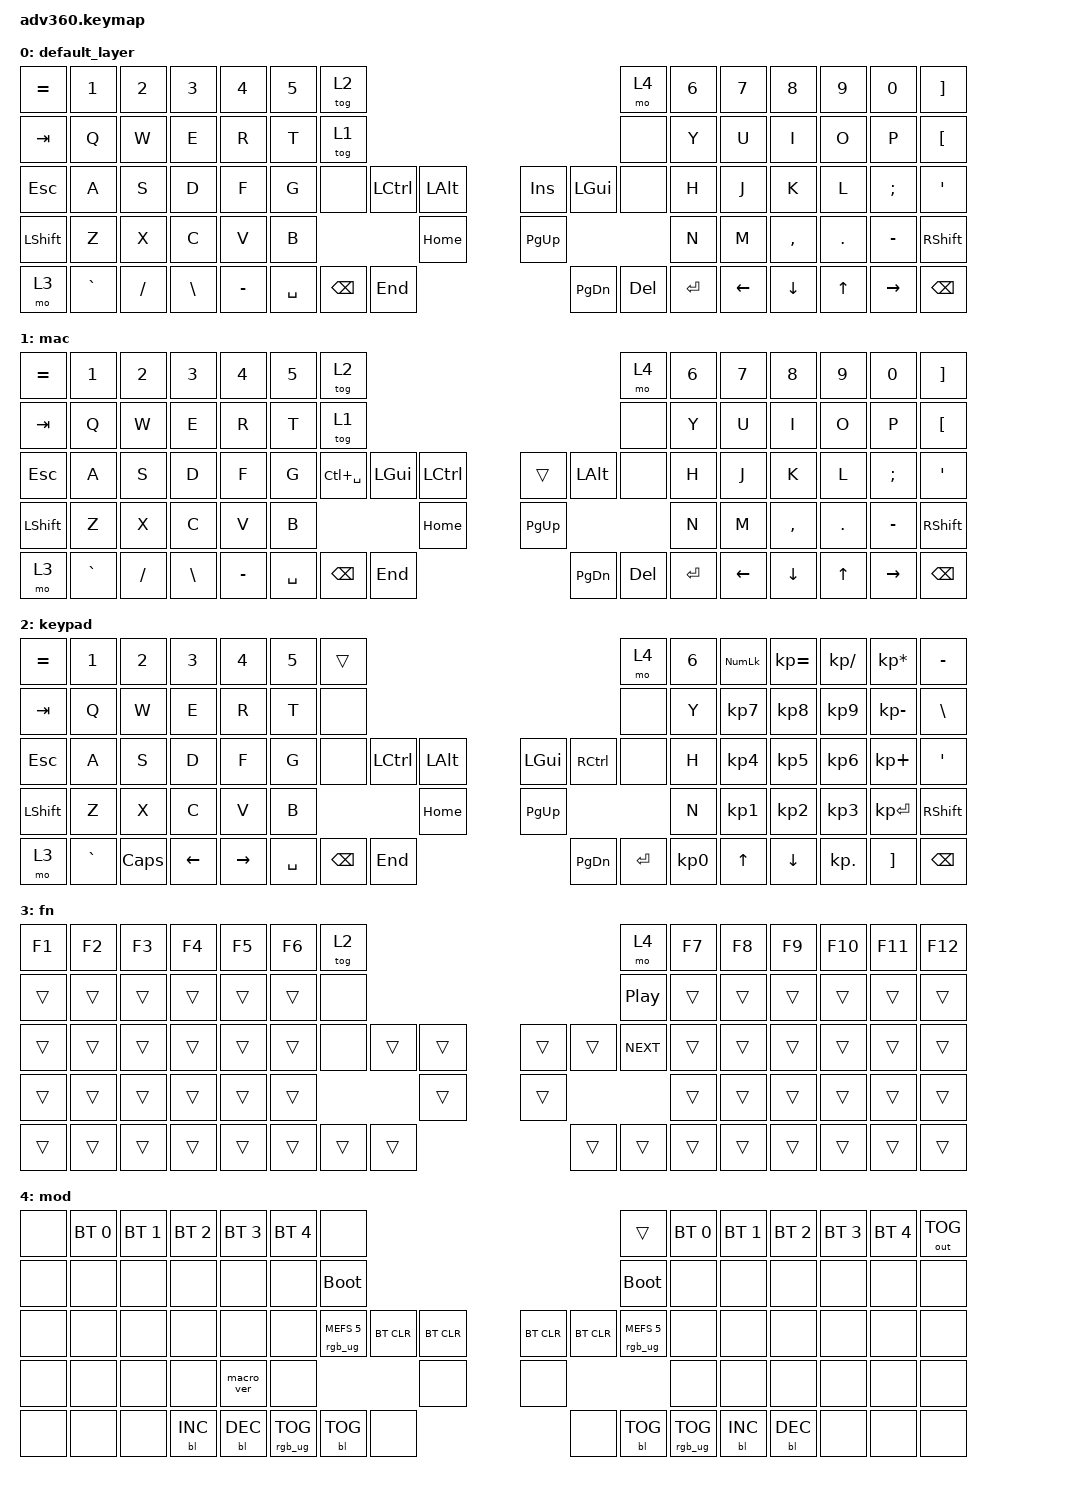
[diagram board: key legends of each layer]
#include <behaviors.dtsi>
#include <dt-bindings/zmk/keys.h>
#include <dt-bindings/zmk/bt.h>
#include <dt-bindings/zmk/rgb.h>
#include <dt-bindings/zmk/backlight.h>
#include <dt-bindings/zmk/outputs.h>

/ {
    behaviors {
      #include "macros.dtsi"
      #include "version.dtsi"
      #ifndef VERSION_MACRO
      macro_ver: macro_ver {
        compatible = "zmk,behavior-macro";
        label = "macro_version";
        #binding-cells = <0>;
        bindings = <&kp RET>;
      };
      #endif

      hm: homerow_mods {
          compatible = "zmk,behavior-hold-tap";
          label = "HOMEROW_MODS";
          #binding-cells = <2>;
          tapping-term-ms = <200>;
          quick_tap_ms = <175>;
          flavor = "tap-preferred";
          bindings = <&kp>, <&kp>;
      };
    };

  keymap {
    compatible = "zmk,keymap";

    default_layer {
      bindings = <
        &kp EQUAL &kp N1    &kp N2    &kp N3    &kp N4     &kp N5 &tog 2                                                                        &mo 4 &kp N6 &kp N7   &kp N8    &kp N9   &kp N0    &kp RBKT
        &kp TAB   &kp Q     &kp W     &kp E     &kp R      &kp T  &tog 1                                                                        &none &kp Y  &kp U    &kp I     &kp O    &kp P     &kp LBKT
        &kp ESC   &kp A     &kp S     &kp D     &kp F      &kp G  &none            &kp LCTRL &kp LALT             &kp INS   &kp LGUI            &none &kp H  &kp J    &kp K     &kp L    &kp SEMI  &kp SQT
        &kp LSHFT &kp Z     &kp X     &kp C     &kp V      &kp B                             &kp HOME             &kp PG_UP                           &kp N  &kp M    &kp COMMA &kp DOT  &kp MINUS &kp RSHFT
        &mo 3     &kp GRAVE &kp SLASH &kp BSLH  &kp MINUS                &kp SPACE &kp BSPC  &kp END              &kp PG_DN &kp DEL   &kp ENTER              &kp LEFT &kp DOWN  &kp UP   &kp RIGHT &kp BSPC
      >;
    };
    mac {
      bindings = <
        &kp EQUAL &kp N1    &kp N2    &kp N3    &kp N4     &kp N5 &tog 2                                                                        &mo 4 &kp N6 &kp N7   &kp N8    &kp N9   &kp N0    &kp RBKT
        &kp TAB   &kp Q     &kp W     &kp E     &kp R      &kp T  &tog 1                                                                        &none &kp Y  &kp U    &kp I     &kp O    &kp P     &kp LBKT
        &kp ESC   &kp A     &kp S     &kp D     &kp F      &kp G  &kp LC(SPACE)    &kp LGUI &kp LCTRL             &trans &kp LALT               &none &kp H  &kp J    &kp K     &kp L    &kp SEMI  &kp SQT
        &kp LSHFT &kp Z     &kp X     &kp C     &kp V      &kp B                             &kp HOME             &kp PG_UP                           &kp N  &kp M    &kp COMMA &kp DOT  &kp MINUS &kp RSHFT
        &mo 3     &kp GRAVE &kp SLASH &kp BSLH  &kp MINUS                &kp SPACE &kp BSPC  &kp END              &kp PG_DN &kp DEL   &kp ENTER              &kp LEFT &kp DOWN  &kp UP   &kp RIGHT &kp BSPC
      >;    
    };
    keypad {
      bindings = <
        &kp EQUAL &kp N1    &kp N2   &kp N3   &kp N4     &kp N5 &trans                                                                         &mo 4 &kp N6 &kp KP_NUM &kp KP_EQUAL &kp KP_DIVIDE &kp KP_MULTIPLY &kp MINUS
        &kp TAB   &kp Q     &kp W    &kp E    &kp R      &kp T  &none                                                                          &none &kp Y  &kp KP_N7  &kp KP_N8    &kp KP_N9     &kp KP_MINUS    &kp BSLH
        &kp ESC   &kp A     &kp S    &kp D    &kp F      &kp G  &none            &kp LCTRL  &kp LALT             &kp LGUI  &kp RCTRL           &none &kp H  &kp KP_N4  &kp KP_N5    &kp KP_N6     &kp KP_PLUS     &kp SQT
        &kp LSHFT &kp Z     &kp X    &kp C    &kp V      &kp B                              &kp HOME             &kp PG_UP                           &kp N  &kp KP_N1  &kp KP_N2    &kp KP_N3     &kp KP_ENTER    &kp RSHFT
        &mo 3     &kp GRAVE &kp CAPS &kp LEFT &kp RIGHT                &kp SPACE &kp BSPC   &kp END              &kp PG_DN &kp ENTER &kp KP_N0              &kp UP     &kp DOWN     &kp KP_DOT    &kp RBKT        &kp BSPC
      >;
    };
    fn {
      bindings = <
        &kp F1 &kp F2 &kp F3 &kp F4 &kp F5 &kp F6 &tog 2                                                       &mo 4            &kp F7 &kp F8 &kp F9 &kp F10 &kp F11 &kp F12
        &trans &trans &trans &trans &trans &trans  &none                                                       &kp C_PLAY_PAUSE &trans &trans &trans &trans  &trans  &trans
        &trans &trans &trans &trans &trans &trans  &none        &trans &trans             &trans &trans        &kp C_NEXT       &trans &trans &trans &trans  &trans  &trans
        &trans &trans &trans &trans &trans &trans                      &trans             &trans                                &trans &trans &trans &trans  &trans  &trans
        &trans &trans &trans &trans &trans               &trans &trans &trans             &trans &trans &trans                         &trans &trans &trans  &trans  &trans
      >;
    };
    mod {
      bindings = <
        &none &bt BT_SEL 0 &bt BT_SEL 1 &bt BT_SEL 2 &bt BT_SEL 3 &bt BT_SEL 4 &none                                                                                                          &trans                 &bt BT_SEL 0 &bt BT_SEL 1 &bt BT_SEL 2 &bt BT_SEL 3 &bt BT_SEL 4 &out OUT_TOG
        &none &none        &none        &none        &none        &none        &bootloader                                                                                                    &bootloader            &none        &none        &none        &none        &none        &none
        &none &none        &none        &none        &none        &none        &rgb_ug RGB_MEFS_CMD 5            &bt BT_CLR &bt BT_CLR                  &bt BT_CLR &bt BT_CLR                 &rgb_ug RGB_MEFS_CMD 5 &none        &none        &none        &none        &none        &none
        &none &none        &none        &none        &macro_ver   &none                                                          &none                  &none                                                        &none        &none        &none        &none        &none        &none
        &none &none        &none        &bl BL_INC   &bl BL_DEC                                       &rgb_ug RGB_TOG &bl BL_TOG &none                  &none      &bl BL_TOG &rgb_ug RGB_TOG                                     &bl BL_INC   &bl BL_DEC   &none        &none        &none
      >;
    };
    
  };
};
